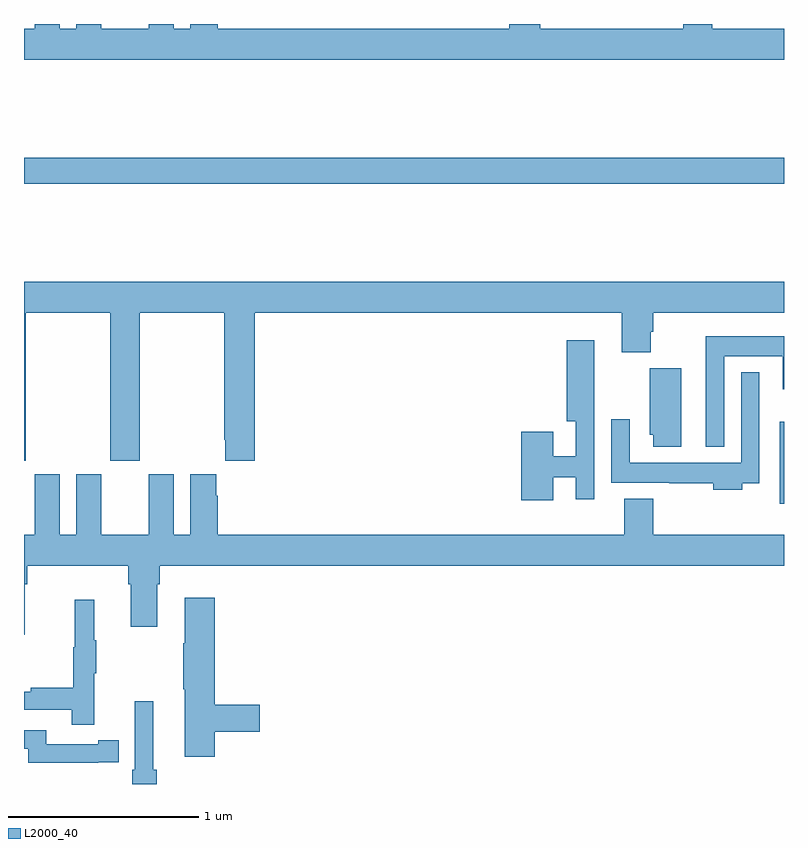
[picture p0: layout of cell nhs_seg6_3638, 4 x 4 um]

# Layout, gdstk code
import gdstk
lib = gdstk.Library(unit=1e-6, precision=1e-09)
def R(c, l, rs):  # rectangles x0, y0, x1, y1
    for r in rs: c.add(gdstk.rectangle(r[:2], r[2:], *l))
def P(c, l, *ps):  # polygons
    for p in ps: c.add(gdstk.Polygon(p, *l))
L2000_40 = (2000, 40)

nhs_seg6_3638 = lib.new_cell('nhs_seg6_3638')
R(nhs_seg6_3638, L2000_40, [(326.978,968.976,327,969.406), (323,970.66,327,970.796)])
P(nhs_seg6_3638, L2000_40, [(327,971.476),(326.623,971.476),(326.623,971.5),(326.471,971.5),(326.471,971.476),(325.718,971.476),(325.718,971.5),(325.553,971.5),(325.553,971.476),(324.02,971.476),(324.02,971.5),(323.876,971.5),(323.876,971.476),(323.788,971.476),(323.788,971.5),(323.657,971.5),(323.657,971.476),(323.407,971.476),(323.407,971.5),(323.276,971.5),(323.276,971.476),(323.188,971.476),(323.188,971.5),(323.057,971.5),(323.057,971.476),(323,971.476),(323,971.312),(327,971.312)],
  [(323.01,969.98),(323.455,969.98),(323.455,969.201),(323.61,969.201),(323.61,969.98),(324.055,969.98),(324.055,969.313),(324.059,969.313),(324.059,969.201),(324.215,969.201),(324.215,969.98),(326.147,969.98),(326.147,969.772),(326.299,969.772),(326.299,969.881),(326.312,969.881),(326.312,969.98),(327,969.98),(327,970.144),(323,970.144),(323,969.201),(323.01,969.201)],
  [(326.685,969.752),(326.994,969.752),(326.994,969.578),(327,969.578),(327,969.856),(326.588,969.856),(326.588,969.275),(326.685,969.275)],
  [(325.786,969.114),(325.905,969.114),(325.905,969),(326.001,969),(326.001,969.514),(326.002,969.514),(326.002,969.835),(325.856,969.835),(325.856,969.41),(325.905,969.41),(325.905,969.224),(325.786,969.224),(325.786,969.355),(325.616,969.355),(325.616,968.994),(325.786,968.994)],
  [(326.458,969.687),(326.294,969.687),(326.294,969.339),(326.312,969.339),(326.312,969.276),(326.458,969.276)],
  [(326.779,969.084),(326.871,969.084),(326.871,969.667),(326.775,969.667),(326.775,969.19),(326.187,969.19),(326.187,969.421),(326.091,969.421),(326.091,969.086),(326.395,969.086),(326.395,969.084),(326.627,969.084),(326.627,969.05),(326.779,969.05)],
  [(323.005,968.552),(323.018,968.552),(323.018,968.648),(323.549,968.648),(323.549,968.552),(323.561,968.552),(323.561,968.328),(323.701,968.328),(323.701,968.552),(323.714,968.552),(323.714,968.648),(327,968.648),(327,968.812),(326.312,968.812),(326.312,969.001),(326.159,969.001),(326.159,968.812),(324.02,968.812),(324.02,969.017),(324.013,969.017),(324.013,969.13),(323.876,969.13),(323.876,968.812),(323.788,968.812),(323.788,969.13),(323.657,969.13),(323.657,968.812),(323.407,968.812),(323.407,969.13),(323.276,969.13),(323.276,968.812),(323.188,968.812),(323.188,969.13),(323.057,969.13),(323.057,968.812),(323,968.812),(323,968.286),(323.005,968.286)],
  [(324.005,967.774),(324.241,967.774),(324.241,967.916),(324.005,967.916),(324.005,968.479),(323.846,968.479),(323.846,968.24),(323.839,968.24),(323.839,967.999),(323.846,967.999),(323.846,967.644),(324.005,967.644)],
  [(323.369,968.083),(323.38,968.083),(323.38,968.257),(323.369,968.257),(323.369,968.47),(323.266,968.47),(323.266,968.22),(323.259,968.22),(323.259,968.006),(323.035,968.006),(323.035,967.986),(323,967.986),(323,967.89),(323.251,967.89),(323.251,967.812),(323.369,967.812)],
  [(323.699,967.576),(323.68,967.576),(323.68,967.936),(323.583,967.936),(323.583,967.576),(323.57,967.576),(323.57,967.5),(323.699,967.5)],
  [(323.39,967.614),(323.498,967.614),(323.498,967.73),(323.39,967.73),(323.39,967.71),(323.118,967.71),(323.118,967.782),(323,967.782),(323,967.686),(323.022,967.686),(323.022,967.613),(323.39,967.613)])

lib.write_gds('nhs_seg6_3638.gds')
